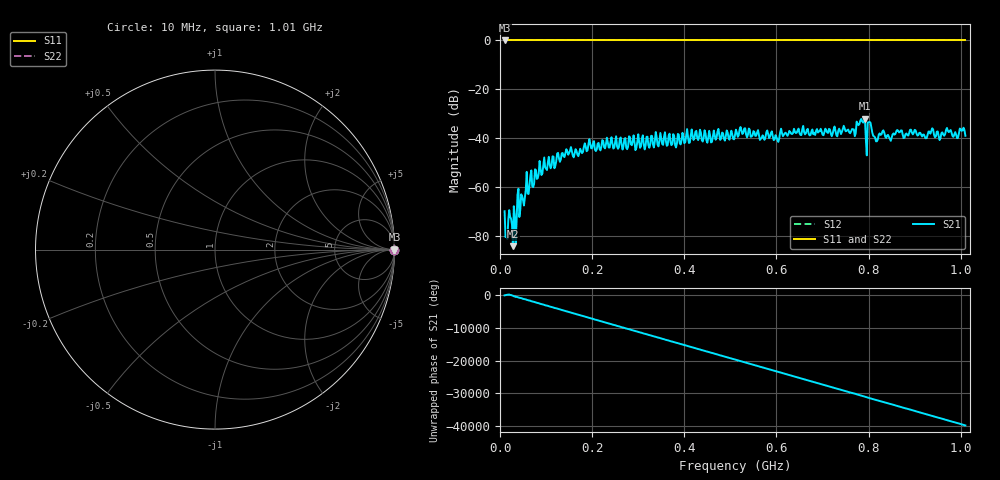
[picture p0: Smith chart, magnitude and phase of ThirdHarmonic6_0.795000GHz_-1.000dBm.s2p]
! 8/16/2025 2:31:34 AM
! C:\ANRITSUVNA\TEMP\TEMP.S2P
! CHANNEL.1
! TR.MEASUREMENT
! RAW.DATA
! RF.CORRECTION.OFF
! AVERAGING.OFF
! IF.BANDWIDTH: 5KHZ
! SWEEPTYPE:  FREQ.SWEEP(Linear)
! Reference Plane Port Info
! PORT:  PORT1  PORT2
! DISTANCE:  0  m  0  m
! TIME:  0  s  0  s
! PHASE.OFFSET:  0  deg.  0  deg.
! LOSS:  0  dB  0  dB
! REF.LOSS:  0  dB  0  dB
! REF.FREQ:  0  Hz  0  Hz
! Power Info
! POWER:  -20  dBm  -20  dBm
! EFF.POWER:  -20  dBm  -20  dBm
! SOURCE.ATTEN:  0  dB  0  dB
! TEST.ATTEN:  0  dB  0  dB
# GHZ S RI R 50.0
! FREQ.GHZ  S11RE  S11IM  S21RE  S21IM  S12RE  S12IM  S22RE  S22IM
!; PortSelection: Port_12
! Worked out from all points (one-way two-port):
!   501 points, 10 MHz to 1.01 GHz, reference 50 ohm
!   highest |S21| = -31.98 dB at 792 MHz (marker M1); lowest = -84.0 dB at 28 MHz (marker M2)
!   lowest |S11| = 0.0 dB at 10 MHz (marker M3)
!   |S11| at or under -10 dB: nowhere
!   |S22| runs from 0.0 to 0.0 dB; largest |S21 - S12| = 1
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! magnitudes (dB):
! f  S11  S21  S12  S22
! 10 MHz  0.0  -69.7  0.0  0.0
! 14 MHz  0.0  -79.4  0.0  0.0
! 22 MHz  0.0  -72.0  0.0  0.0
! 28 MHz  0.0  -84.0  0.0  0.0
! 32 MHz  0.0  -71.6  0.0  0.0
! 42 MHz  0.0  -72.1  0.0  0.0
! 82 MHz  0.0  -56.2  0.0  0.0
! 148 MHz  0.0  -46.7  0.0  0.0
! 178 MHz  0.0  -46.0  0.0  0.0
! 344 MHz  0.0  -43.3  0.0  0.0
! 510 MHz  0.0  -38.7  0.0  0.0
! 678 MHz  0.0  -36.4  0.0  0.0
! 768 MHz  0.0  -36.4  0.0  0.0
! 788 MHz  0.0  -33.5  0.0  0.0
! 792 MHz  0.0  -32.0  0.0  0.0
! 798 MHz  0.0  -33.5  0.0  0.0
! 802 MHz  0.0  -33.3  0.0  0.0
! 816 MHz  0.0  -41.2  0.0  0.0
! 830 MHz  0.0  -37.1  0.0  0.0
! 844 MHz  0.0  -39.4  0.0  0.0
! 866 MHz  0.0  -37.5  0.0  0.0
! 1.01 GHz  0.0  -38.9  0.0  0.0
